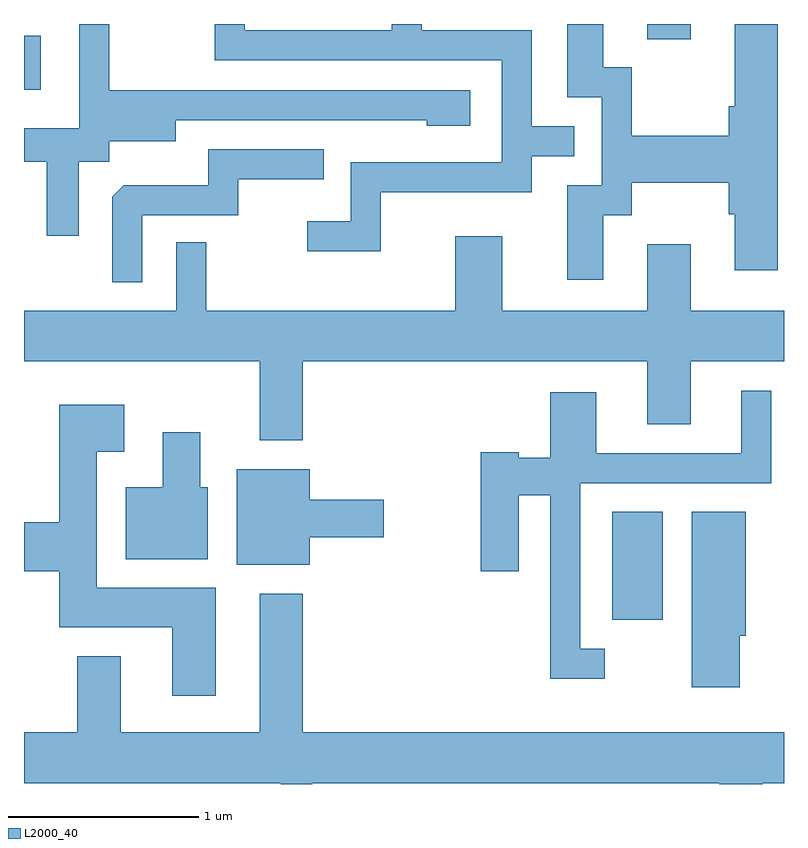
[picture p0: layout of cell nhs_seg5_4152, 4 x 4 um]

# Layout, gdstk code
import gdstk
lib = gdstk.Library(unit=1e-6, precision=1e-09)
def R(c, l, rs):  # rectangles x0, y0, x1, y1
    for r in rs: c.add(gdstk.rectangle(r[:2], r[2:], *l))
def P(c, l, *ps):  # polygons
    for p in ps: c.add(gdstk.Polygon(p, *l))
L2000_40 = (2000, 40)

nhs_seg5_4152 = lib.new_cell('nhs_seg5_4152')
R(nhs_seg5_4152, L2000_40, [(310.706,1510.936,310.974,1511.504), (307.611,1513.726,307.699,1514.009), (310.891,1513.991,311.119,1514.072)])
P(nhs_seg5_4152, L2000_40, [(307.899,1513.346),(308.059,1513.346),(308.059,1513.456),(308.409,1513.456),(308.409,1513.566),(309.731,1513.566),(309.731,1513.536),(309.959,1513.536),(309.959,1513.724),(308.059,1513.724),(308.059,1514.072),(307.901,1514.072),(307.901,1513.524),(307.611,1513.524),(307.611,1513.346),(307.731,1513.346),(307.731,1512.958),(307.899,1512.958)],
  [(310.659,1513.066),(310.809,1513.066),(310.809,1513.236),(311.321,1513.236),(311.321,1513.071),(311.351,1513.071),(311.351,1512.776),(311.579,1512.776),(311.579,1514.072),(311.351,1514.072),(311.351,1513.639),(311.321,1513.639),(311.321,1513.484),(310.809,1513.484),(310.809,1513.844),(310.659,1513.844),(310.659,1514.072),(310.471,1514.072),(310.471,1513.686),(310.651,1513.686),(310.651,1513.224),(310.471,1513.224),(310.471,1512.726),(310.659,1512.726)],
  [(309.489,1513.186),(310.284,1513.186),(310.284,1513.376),(310.508,1513.376),(310.508,1513.534),(310.284,1513.534),(310.284,1514.039),(309.704,1514.039),(309.704,1514.072),(309.546,1514.072),(309.546,1514.039),(308.774,1514.039),(308.774,1514.072),(308.616,1514.072),(308.616,1513.881),(310.126,1513.881),(310.126,1513.344),(309.331,1513.344),(309.331,1513.034),(309.103,1513.034),(309.103,1512.876),(309.489,1512.876)],
  [(308.234,1513.066),(308.739,1513.066),(308.739,1513.256),(309.188,1513.256),(309.188,1513.414),(308.581,1513.414),(308.581,1513.224),(308.137,1513.224),(308.076,1513.164),(308.076,1512.713),(308.234,1512.713)],
  [(309.079,1512.296),(310.891,1512.296),(310.891,1511.966),(311.119,1511.966),(311.119,1512.296),(311.611,1512.296),(311.611,1512.564),(311.119,1512.564),(311.119,1512.914),(310.891,1512.914),(310.891,1512.564),(310.129,1512.564),(310.129,1512.954),(309.881,1512.954),(309.881,1512.564),(308.569,1512.564),(308.569,1512.923),(308.411,1512.923),(308.411,1512.564),(307.611,1512.564),(307.611,1512.296),(308.851,1512.296),(308.851,1511.881),(309.079,1511.881)],
  [(310.668,1510.784),(310.539,1510.784),(310.539,1511.656),(311.544,1511.656),(311.544,1512.143),(311.386,1512.143),(311.386,1511.814),(310.624,1511.814),(310.624,1512.134),(310.381,1512.134),(310.381,1511.789),(310.214,1511.789),(310.214,1511.819),(310.016,1511.819),(310.016,1511.191),(310.214,1511.191),(310.214,1511.591),(310.381,1511.591),(310.381,1510.626),(310.668,1510.626)],
  [(308.619,1511.104),(307.994,1511.104),(307.994,1511.821),(308.139,1511.821),(308.139,1512.069),(307.796,1512.069),(307.796,1511.449),(307.611,1511.449),(307.611,1511.191),(307.796,1511.191),(307.796,1510.896),(308.391,1510.896),(308.391,1510.536),(308.619,1510.536)],
  [(308.579,1511.634),(308.539,1511.634),(308.539,1511.924),(308.341,1511.924),(308.341,1511.634),(308.146,1511.634),(308.146,1511.256),(308.579,1511.256)],
  [(309.114,1511.371),(309.504,1511.371),(309.504,1511.569),(309.114,1511.569),(309.114,1511.729),(308.731,1511.729),(308.731,1511.226),(309.114,1511.226)],
  [(311.379,1510.851),(311.409,1510.851),(311.409,1511.504),(311.126,1511.504),(311.126,1510.581),(311.379,1510.581)],
  [(309.129,1510.076),(311.271,1510.076),(311.271,1510.072),(311.499,1510.072),(311.499,1510.076),(311.611,1510.076),(311.611,1510.344),(309.079,1510.344),(309.079,1511.074),(308.851,1511.074),(308.851,1510.344),(308.119,1510.344),(308.119,1510.744),(307.891,1510.744),(307.891,1510.344),(307.611,1510.344),(307.611,1510.076),(308.961,1510.076),(308.961,1510.072),(309.129,1510.072)])

lib.write_gds('nhs_seg5_4152.gds')
